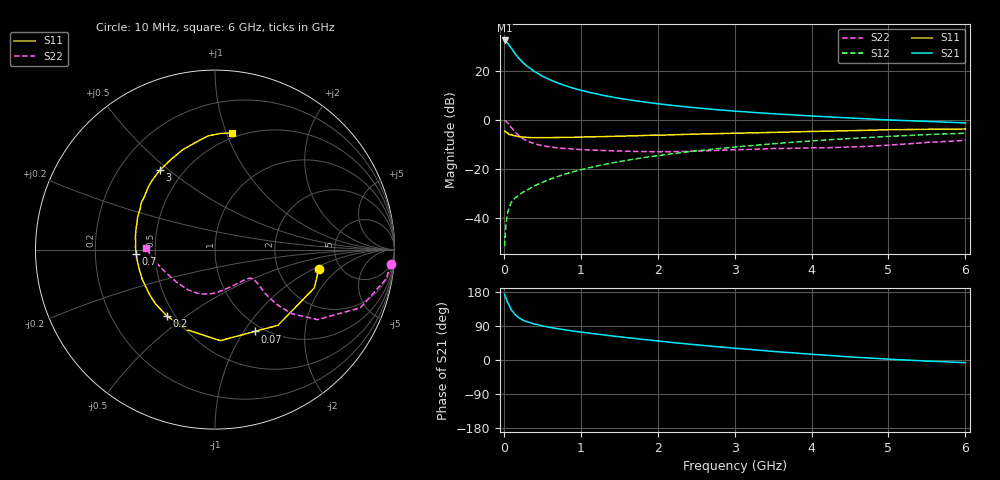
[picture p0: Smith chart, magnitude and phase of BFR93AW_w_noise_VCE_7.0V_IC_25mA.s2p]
! Infineon Technologies  Discrete & RF Semiconductors
! BFR93AW
! VCE =  7.0 V,  IC =  25 mA
! Common Emitter S-Parameters:  Jan 2017
# GHz  S  MA  R  50
!  f  S11  S21  S12  S22
! GHz  MAG  ANG  MAG  ANG  MAG  ANG  MAG  ANG
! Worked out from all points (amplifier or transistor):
!   77 points, 10 MHz to 6 GHz, reference 50 ohm
!   highest |S21| = 32.7 dB at 10 MHz (marker M1)
!   |S21| within 3 dB of that: start of sweep to 92.54 MHz
!   unconditionally stable (mu >= 1): 644.2 MHz to 2.063 GHz
!   at 130 MHz: K = 0.47, MSG = 30.3 dB, |S12| = -32.5 dB
!   at 2.2 GHz: K = 0.99, MSG = 9.9 dB, |S12| = -13.7 dB
!   at 6 GHz: K = 0.87, MSG = 2.1 dB, |S12| = -5.4 dB
!   lowest NFmin = 1.66 dB at 450 MHz
!   S11 on the Smith chart (normalised r, x): 10 MHz: 3.44, -1.15; 70 MHz: 0.91, -1.12; 200 MHz: 0.45, -0.42; 700 MHz: 0.39, -0.02; 3 GHz: 0.37, +0.46; 6 GHz: 0.46, +1.05
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0.01  0.5886 -10.7  42.92 173.2  0.0026 86.9  0.9814 -4.7
0.02  0.5929 -21.1  42.6 167.4  0.0051 82.9  0.9686 -9.6
0.05  0.5486 -50.2  37.99 150.7  0.0127 71.0  0.8724 -21.8
0.07  0.5073 -64.0  34.08 144.0  0.0159 66.7  0.7961 -26.1
0.1  0.5081 -86.6  29.36 131.0  0.0209 62.8  0.6924 -34.3
0.15  0.4735 -110.3  22.68 118.9  0.0256 58.0  0.559 -39.8
0.2  0.4564 -126.1  18.14 110.9  0.0291 57.9  0.4714 -41.4
0.25  0.4489 -137.6  15.06 105.0  0.0333 58.8  0.415 -41.5
0.3  0.4421 -145.7  12.77 100.9  0.0367 59.8  0.3738 -41.2
0.4  0.4381 -157.4  9.841 94.6  0.0449 63.4  0.3265 -39.5
0.5  0.4363 -165.6  7.956 90.0  0.0529 65.3  0.2987 -38.4
0.6  0.4374 -172.0  6.697 86.0  0.0613 66.5  0.2817 -37.8
0.7  0.4396 -176.8  5.77 82.7  0.0696 68.4  0.27 -37.5
0.9  0.4437 174.6  4.522 76.4  0.0872 69.2  0.2548 -38.9
1.1  0.4519 167.6  3.745 71.2  0.1044 69.1  0.245 -41.3
1.5  0.4687 156.4  2.801 61.4  0.1405 68.1  0.2314 -49.1
2.1  0.4939 142.3  2.079 48.2  0.1958 64.4  0.2247 -66.7
3  0.5389 124.8  1.529 31.0  0.2796 57.2  0.2468 -95.0
3.1  0.542 122.9  1.491 29.5  0.2889 56.2  0.2485 -97.9
4.1  0.5888 106.2  1.192 13.8  0.3833 46.3  0.2702 -126.9
5.1  0.6368 92.2  0.995 1.3  0.4707 35.4  0.3137 -160.2
6  0.6572 81.7  0.875 -7.1  0.5395 25.2  0.3842 178.3
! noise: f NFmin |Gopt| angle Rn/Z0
0.45  1.66  0.17  171  0.16
0.9  1.93  0.25  -177  0.16
1.9  2.93  0.49  -136  0.25
2.4  3.59  0.55  -125  0.5
